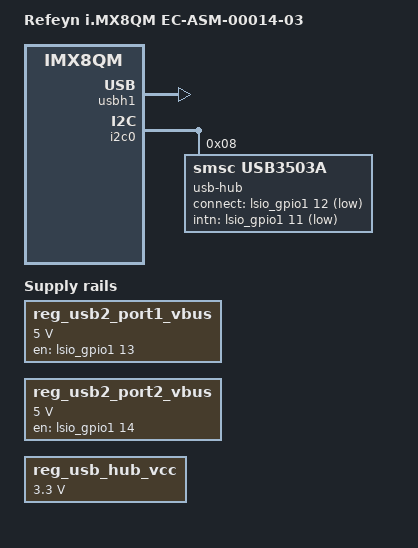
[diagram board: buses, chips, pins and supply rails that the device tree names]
// SPDX-License-Identifier: GPL-2.0+
/*
 * Copyright 2024 Refeyn
 *	Matthew Joyce <matthew.joyce@refeyn.com>
 */

#include "imx8qm-ec-asm-00014-01.dtsi"

/ {
	model = "Refeyn i.MX8QM EC-ASM-00014-03";
    compatible = "fsl,imx8qm-ec-asm-00014-03", "fsl,imx8qm";

    reg_usb2_port1_vbus: regulator-usb2-port1-vbus {
        compatible = "regulator-fixed";
        regulator-name = "reg_usb2_port1_vbus";
        regulator-min-microvolt = <5000000>;
        regulator-max-microvolt = <5000000>;
        gpio = <&lsio_gpio1 13 GPIO_ACTIVE_HIGH>;
        over-current-gpios = <&lsio_gpio1 15 GPIO_ACTIVE_HIGH>;
        enable-active-high;
        regulator-always-on;
    };

    reg_usb2_port2_vbus: regulator-usb2-port2-vbus {
        compatible = "regulator-fixed";
        regulator-name = "reg_usb2_port2_vbus";
        regulator-min-microvolt = <5000000>;
        regulator-max-microvolt = <5000000>;
        gpio = <&lsio_gpio1 14 GPIO_ACTIVE_HIGH>;
        over-current-gpios = <&lsio_gpio2 14 GPIO_ACTIVE_HIGH>;
        enable-active-high;
        regulator-always-on;
    };

    reg_usb_hub_vcc: regulator-usb-hub-vcc {
        compatible = "regulator-fixed";
        regulator-name = "vref_3v3_usb";
        regulator-min-microvolt = <3300000>;
        regulator-max-microvolt = <3300000>;
    };
};

// USB HSIC

&usbh1 {
	adp-disable;
	disable-over-current;
	hnp-disable;
	pinctrl-names = "idle", "active";
	pinctrl-0 = <&pinctrl_usbh1>;
	pinctrl-1 = <&pinctrl_usbh1_active>;
	srp-disable;
	status = "okay";
};

// &usbphynop2 {
// 	vcc-supply = <&reg_usb_hub_vcc>;
// 	status = "okay";
// };

&i2c0 { // I2C bus with USB HSIC hub
    usb-hub@8 {
        compatible = "smsc,usb3503a";
        reg = <0x08>;
        pinctrl-names = "default";
        pinctrl-0 = <&pinctrl_usb_hsic_hub>;
        disabled-ports = <3>; // Only port 1 and 2 is connected
        connect-gpios = <&lsio_gpio1 12 GPIO_ACTIVE_LOW>;
        intn-gpios = <&lsio_gpio1 11 GPIO_ACTIVE_LOW>;
        initial-mode = <1>; // Hub mode
        refclk-frequency = <26000000>;
    };
};

&iomuxc {
    pinctrl_usbh1: usbh1grp {
        fsl,pins = <
        IMX8QM_USB_HSIC0_DATA_CONN_USB_HSIC0_DATA			0x000000CF
        IMX8QM_USB_HSIC0_STROBE_CONN_USB_HSIC0_STROBE		0x000000CF
        >;
    };

    pinctrl_usbh1_active: usbh1activegrp {
        fsl,pins = <
        IMX8QM_USB_HSIC0_DATA_CONN_USB_HSIC0_DATA			0x000000CF
        IMX8QM_USB_HSIC0_STROBE_CONN_USB_HSIC0_STROBE		0x000000FF
        >;
    };

    pinctrl_usb_hsic_hub: hsic_hubgrp {
        fsl,pins = <
        IMX8QM_LVDS1_GPIO01_LSIO_GPIO1_IO11					0x06000021
        IMX8QM_LVDS1_I2C0_SCL_LSIO_GPIO1_IO12				0x06000021
        IMX8QM_LVDS1_I2C0_SDA_LSIO_GPIO1_IO13				0x06000021
        IMX8QM_LVDS1_I2C1_SCL_LSIO_GPIO1_IO14				0x06000021
        IMX8QM_LVDS1_I2C1_SDA_LSIO_GPIO1_IO15				0x06000021
        IMX8QM_SPDIF0_RX_LSIO_GPIO2_IO14					0x06000021
        >;
    };
};
